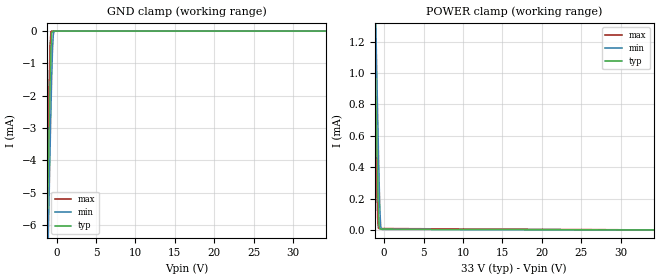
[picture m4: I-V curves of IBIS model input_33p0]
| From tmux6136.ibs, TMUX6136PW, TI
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|   input_33p0 Model
[Model]   input_33p0
Model_type   Input
Vinl = 2
Vinh = 0.8
|   typ   min   max
C_comp   0.334pF   0.331pf   0.337pF
| Where Nom  PVT is Nominal Process, 33V, 25C
|   Fast PVT is Strong Process,  36V, -40C
|   Slow PVT is Weak Process,   30V, 125C
[Voltage Range]   33   30   36
|Junction Temperature
[Temperature Range]   27   125   -40
[Power Clamp Reference]   33   30   36
[GND Clamp Reference]   0   0   0
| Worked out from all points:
|   GND clamp passes 1 mA (typ) near -0.77 V on its own axis
|   POWER clamp passes 1 mA (typ) near -1.11 V on its own axis
[GND Clamp]
|   Voltage   I(typ)   I(min)   I(max)
-33V      -463.1mA   -480.7mA   -446.3mA
-1.32V    -7.565mA   -9.666mA   -6.184mA
-1.221V   -6.308mA   -8.414mA   -4.92mA
-1.122V   -5.066mA   -7.173mA   -3.675mA
-1.023V   -3.844mA   -5.945mA   -2.463mA
-825mV    -1.545mA   -3.561mA   -379.8uA
-726mV    -602.3uA   -2.435mA   -17.65uA
-627mV    -87.02uA   -1.405mA   -214.9nA
-528mV    -3.22uA    -579.6uA   -3.588nA
-429mV    -27.09nA   -122.6uA   -1.794nA
-231mV    0A         -620.3nA   0A
66V       0A         0A         0A
[POWER Clamp]
|   Voltage   I(typ)   I(min)   I(max)
-33V      213.6mA    271mA      156.6mA
-1.419V   1.797mA    2.242mA    1.516mA
-1.32V    1.539mA    1.984mA    1.257mA
-1.221V   1.283mA    1.728mA    1.001mA
-1.023V   780.4uA    1.223mA    501.1uA
-825mV    308.9uA    733uA      74.64uA
-726mV    113.5uA    500.1uA    10.93uA
-627mV    15.56uA    284.7uA    9.264uA
-528mV    5.778uA    108.7uA    9.227uA
-429mV    5.498uA    19.19uA    9.203uA
-231mV    5.462uA    3.047uA    9.156uA
66V       0A         0A         0A
